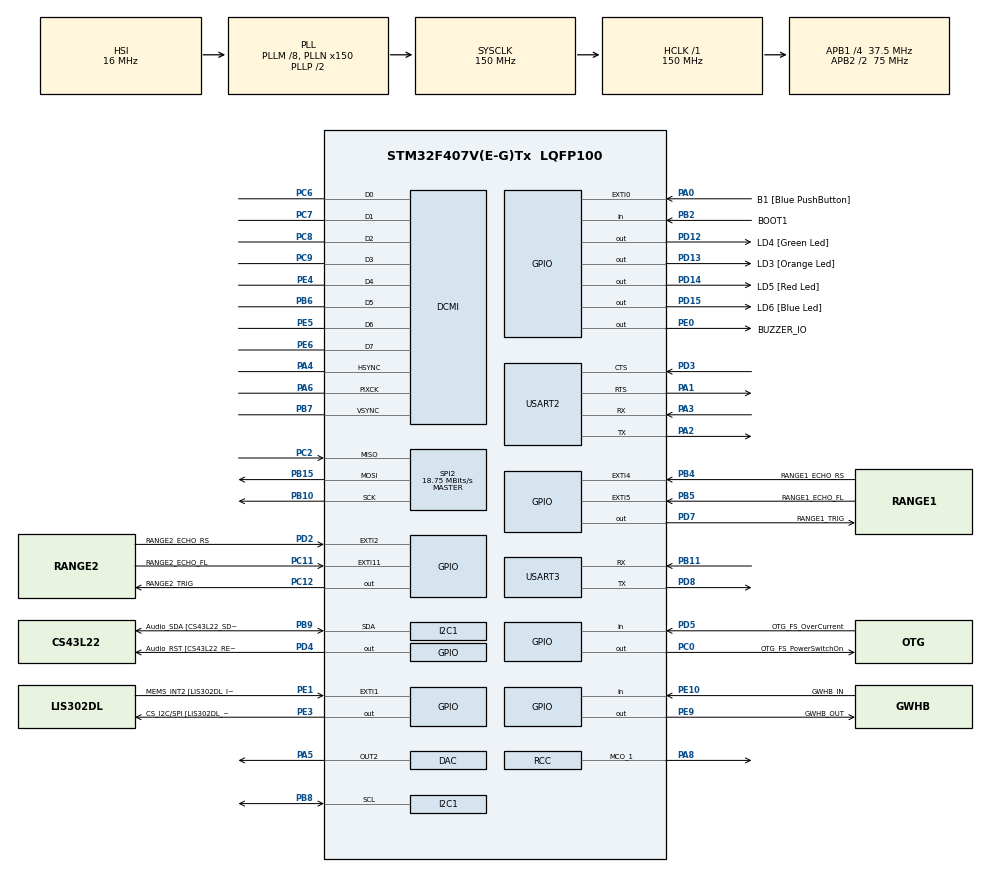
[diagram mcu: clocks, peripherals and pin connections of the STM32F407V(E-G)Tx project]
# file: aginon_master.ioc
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I2C1.OwnAddress=73
Mcu.Family=STM32F4
Mcu.Name=STM32F407V(E-G)Tx
Mcu.Package=LQFP100
NVIC.EXTI15_10_IRQn=true\:1\:0\:true\:false\:true\:true
NVIC.EXTI2_IRQn=true\:1\:0\:true\:false\:true\:true
NVIC.EXTI4_IRQn=true\:1\:0\:true\:false\:true\:true
NVIC.EXTI9_5_IRQn=true\:1\:0\:true\:false\:true\:true
NVIC.PriorityGroup=NVIC_PRIORITYGROUP_2
NVIC.TIM1_UP_TIM10_IRQn=true\:2\:0\:true\:false\:true\:true
NVIC.TIM6_DAC_IRQn=true\:2\:0\:true\:false\:true\:true
NVIC.TIM7_IRQn=true\:2\:0\:true\:false\:true\:true
NVIC.USART3_IRQn=true\:1\:0\:true\:false\:true\:true
PA0-WKUP.GPIO_Label=B1 [Blue PushButton]
PA0-WKUP.Signal=GPXTI0
PA1.Mode=CTS_RTS
PA1.Signal=USART2_RTS
PA10.GPIO_Label=OTG_FS_ID
PA10.GPIO_Mode=GPIO_MODE_AF_PP
PA10.GPIO_PuPd=GPIO_NOPULL
PA10.GPIO_Speed=GPIO_SPEED_FREQ_LOW
PA10.Signal=USB_OTG_FS_ID
PA11.GPIO_Label=OTG_FS_DM
PA11.GPIO_Mode=GPIO_MODE_AF_PP
PA11.GPIO_PuPd=GPIO_NOPULL
PA11.GPIO_Speed=GPIO_SPEED_FREQ_LOW
PA11.Signal=USB_OTG_FS_DM
PA12.GPIO_Label=OTG_FS_DP
PA12.GPIO_Mode=GPIO_MODE_AF_PP
PA12.GPIO_PuPd=GPIO_NOPULL
PA12.GPIO_Speed=GPIO_SPEED_FREQ_LOW
PA12.Signal=USB_OTG_FS_DP
PA13.GPIO_Label=SWDIO
PA13.Signal=SYS_JTMS-SWDIO
PA14.GPIO_Label=SWCLK
PA14.Signal=SYS_JTCK-SWCLK
PA2.Mode=Asynchronous
PA2.Signal=USART2_TX
PA3.Mode=Asynchronous
PA3.Signal=USART2_RX
PA4.Mode=Slave_8_bits_External_Synchro
PA4.Signal=DCMI_HSYNC
PA5.Signal=COMP_DAC2_group
PA6.Mode=Slave_8_bits_External_Synchro
PA6.Signal=DCMI_PIXCK
PA8.Mode=Clock-out-1
PA8.Signal=RCC_MCO_1
PB10.Mode=Full_Duplex_Master
PB10.Signal=SPI2_SCK
PB11.Mode=Asynchronous
PB11.Signal=USART3_RX
PB13.Signal=USART3_CTS
PB14.Signal=USART3_RTS
PB15.Mode=Full_Duplex_Master
PB15.Signal=SPI2_MOSI
PB2.GPIO_Label=BOOT1
PB2.GPIO_Mode=GPIO_MODE_INPUT
PB2.GPIO_PuPd=GPIO_NOPULL
PB2.Signal=GPIO_Input
PB3.GPIO_Label=SWO
PB3.Signal=SYS_JTDO-SWO
PB4.GPIO_Label=RANGE1_ECHO_RS
PB4.Signal=GPXTI4
PB5.GPIO_Label=RANGE1_ECHO_FL
PB5.GPIO_ModeDefaultEXTI=GPIO_MODE_IT_FALLING
PB5.Signal=GPXTI5
PB6.Mode=Slave_8_bits_External_Synchro
PB6.Signal=DCMI_D5
PB7.Mode=Slave_8_bits_External_Synchro
PB7.Signal=DCMI_VSYNC
PB8.Mode=I2C
PB8.Signal=I2C1_SCL
PB9.GPIO_Label=Audio_SDA [CS43L22_SDA]
PB9.GPIO_Mode=GPIO_MODE_AF_OD
PB9.GPIO_PuPd=GPIO_NOPULL
PB9.GPIO_Speed=GPIO_SPEED_FREQ_LOW
PB9.Mode=I2C
PB9.Signal=I2C1_SDA
PC0.GPIO_Label=OTG_FS_PowerSwitchOn
PC0.GPIO_PuPd=GPIO_NOPULL
PC0.GPIO_Speed=GPIO_SPEED_FREQ_LOW
PC0.PinState=GPIO_PIN_SET
PC0.Signal=GPIO_Output
PC11.GPIO_Label=RANGE2_ECHO_FL
PC11.GPIO_ModeDefaultEXTI=GPIO_MODE_IT_FALLING
PC11.Signal=GPXTI11
PC12.GPIO_Label=RANGE2_TRIG
PC12.Signal=GPIO_Output
PC14-OSC32_IN.GPIO_Label=PC14-OSC32_IN
PC14-OSC32_IN.Signal=RCC_OSC32_IN
PC15-OSC32_OUT.GPIO_Label=PC15-OSC32_OUT
PC15-OSC32_OUT.Signal=RCC_OSC32_OUT
PC2.Mode=Full_Duplex_Master
PC2.Signal=SPI2_MISO
PC3.GPIO_Label=PDM_OUT [MP45DT02_DOUT]
PC3.GPIO_Mode=GPIO_MODE_AF_PP
PC3.GPIO_PuPd=GPIO_NOPULL
PC3.GPIO_Speed=GPIO_SPEED_FREQ_LOW
PC3.Signal=I2S2_SD
PC6.Mode=Slave_8_bits_External_Synchro
PC6.Signal=DCMI_D0
PC7.Mode=Slave_8_bits_External_Synchro
PC7.Signal=DCMI_D1
PC8.Mode=Slave_8_bits_External_Synchro
PC8.Signal=DCMI_D2
PC9.Mode=Slave_8_bits_External_Synchro
PC9.Signal=DCMI_D3
PD12.GPIO_Label=LD4 [Green Led]
PD12.GPIO_PuPd=GPIO_NOPULL
PD12.GPIO_Speed=GPIO_SPEED_FREQ_LOW
PD12.Signal=GPIO_Output
PD13.GPIO_Label=LD3 [Orange Led]
PD13.GPIO_PuPd=GPIO_NOPULL
PD13.GPIO_Speed=GPIO_SPEED_FREQ_LOW
PD13.Signal=GPIO_Output
PD14.GPIO_Label=LD5 [Red Led]
PD14.GPIO_PuPd=GPIO_NOPULL
PD14.GPIO_Speed=GPIO_SPEED_FREQ_LOW
PD14.Signal=GPIO_Output
PD15.GPIO_Label=LD6 [Blue Led]
PD15.GPIO_PuPd=GPIO_NOPULL
PD15.GPIO_Speed=GPIO_SPEED_FREQ_LOW
PD15.Signal=GPIO_Output
PD2.GPIO_Label=RANGE2_ECHO_RS
PD2.Signal=GPXTI2
PD3.Mode=CTS_RTS
PD3.Signal=USART2_CTS
PD4.GPIO_Label=Audio_RST [CS43L22_RESET]
PD4.GPIO_PuPd=GPIO_NOPULL
PD4.GPIO_Speed=GPIO_SPEED_FREQ_LOW
PD4.Signal=GPIO_Output
PD5.GPIO_Label=OTG_FS_OverCurrent
PD5.GPIO_Mode=GPIO_MODE_INPUT
PD5.GPIO_PuPd=GPIO_NOPULL
PD5.Signal=GPIO_Input
PD7.GPIO_Label=RANGE1_TRIG
PD7.Signal=GPIO_Output
PD8.Mode=Asynchronous
PD8.Signal=USART3_TX
PE0.GPIO_Label=BUZZER_IO
PE0.Signal=GPIO_Output
PE1.GPIO_Label=MEMS_INT2 [LIS302DL_INT2]
PE1.GPIO_ModeDefaultEXTI=GPIO_MODE_EVT_RISING
PE1.GPIO_PuPd=GPIO_NOPULL
PE1.Signal=GPXTI1
PE10.GPIO_Label=GWHB_IN
PE10.Signal=GPIO_Input
PE3.GPIO_Label=CS_I2C/SPI [LIS302DL_CS_I2C/SPI]
PE3.GPIO_PuPd=GPIO_NOPULL
PE3.GPIO_Speed=GPIO_SPEED_FREQ_LOW
PE3.Signal=GPIO_Output
PE4.Mode=Slave_8_bits_External_Synchro
PE4.Signal=DCMI_D4
PE5.Mode=Slave_8_bits_External_Synchro
PE5.Signal=DCMI_D6
PE6.Mode=Slave_8_bits_External_Synchro
PE6.Signal=DCMI_D7
PE9.GPIO_Label=GWHB_OUT
PE9.Signal=GPIO_Output
PH0-OSC_IN.GPIO_Label=PH0-OSC_IN
PH0-OSC_IN.Signal=RCC_OSC_IN
PH1-OSC_OUT.GPIO_Label=PH1-OSC_OUT
PH1-OSC_OUT.Signal=RCC_OSC_OUT
ProjectManager.HeapSize=0x200
ProjectManager.StackSize=0x400
ProjectManager.TargetToolchain=SW4STM32
RCC.48MHZClocksFreq_Value=42857142.85714286
RCC.AHBFreq_Value=150000000
RCC.APB1CLKDivider=RCC_HCLK_DIV4
RCC.APB1Freq_Value=37500000
RCC.APB1TimFreq_Value=75000000
RCC.APB2CLKDivider=RCC_HCLK_DIV2
RCC.APB2Freq_Value=75000000
RCC.APB2TimFreq_Value=150000000
RCC.CortexFreq_Value=150000000
RCC.HCLKFreq_Value=150000000
RCC.HSE_VALUE=8000000
RCC.HSI_VALUE=16000000
RCC.LSE_VALUE=32768
RCC.PLLM=8
RCC.PLLN=150
RCC.PLLQ=7
RCC.SYSCLKFreq_VALUE=150000000
RCC.SYSCLKSource=RCC_SYSCLKSOURCE_PLLCLK
RCC.VCOOutputFreq_Value=300000000
SH.COMP_DAC2_group.0=DAC_OUT2,DAC_OUT2
SPI2.CalculateBaudRate=18.75 MBits/s
SPI2.Direction=SPI_DIRECTION_2LINES
SPI2.Mode=SPI_MODE_MASTER
SPI2.VirtualType=VM_MASTER
TIM10.Period=50000
TIM10.Prescaler=15000
TIM6.Period=75
TIM6.Prescaler=99
TIM7.Period=4000
TIM7.Prescaler=7500
USART2.VirtualMode=VM_ASYNC
USART3.VirtualMode=VM_ASYNC
VP_TIM10_VS_ClockSourceINT.Mode=Enable_Timer
VP_TIM6_VS_ClockSourceINT.Mode=Enable_Timer
VP_TIM7_VS_ClockSourceINT.Mode=Enable_Timer
board=STM32F4DISCOVERY

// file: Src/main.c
/**
  ******************************************************************************
  * File Name          : main.c
  * Description        : Main program body
  ******************************************************************************
  ** This notice applies to any and all portions of this file
  * that are not between comment pairs USER CODE BEGIN and
  * USER CODE END. Other portions of this file, whether
  * inserted by the user or by software development tools
  * are owned by their respective copyright owners.
  *
  * COPYRIGHT(c) 2017 STMicroelectronics
  *
  * Redistribution and use in source and binary forms, with or without modification,
  * are permitted provided that the following conditions are met:
  *   1. Redistributions of source code must retain the above copyright notice,
  *      this list of conditions and the following disclaimer.
  *   2. Redistributions in binary form must reproduce the above copyright notice,
  *      this list of conditions and the following disclaimer in the documentation
  *      and/or other materials provided with the distribution.
  *   3. Neither the name of STMicroelectronics nor the names of its contributors
  *      may be used to endorse or promote products derived from this software
  *      without specific prior written permission.
  *
  * THIS SOFTWARE IS PROVIDED BY THE COPYRIGHT HOLDERS AND CONTRIBUTORS "AS IS"
  * AND ANY EXPRESS OR IMPLIED WARRANTIES, INCLUDING, BUT NOT LIMITED TO, THE
  * IMPLIED WARRANTIES OF MERCHANTABILITY AND FITNESS FOR A PARTICULAR PURPOSE ARE
  * DISCLAIMED. IN NO EVENT SHALL THE COPYRIGHT HOLDER OR CONTRIBUTORS BE LIABLE
  * FOR ANY DIRECT, INDIRECT, INCIDENTAL, SPECIAL, EXEMPLARY, OR CONSEQUENTIAL
  * DAMAGES (INCLUDING, BUT NOT LIMITED TO, PROCUREMENT OF SUBSTITUTE GOODS OR
  * SERVICES; LOSS OF USE, DATA, OR PROFITS; OR BUSINESS INTERRUPTION) HOWEVER
  * CAUSED AND ON ANY THEORY OF LIABILITY, WHETHER IN CONTRACT, STRICT LIABILITY,
  * OR TORT (INCLUDING NEGLIGENCE OR OTHERWISE) ARISING IN ANY WAY OUT OF THE USE
  * OF THIS SOFTWARE, EVEN IF ADVISED OF THE POSSIBILITY OF SUCH DAMAGE.
  *
  ******************************************************************************
  */

#include "main.h"
#include "stm32f4xx_hal.h"

/* USER CODE BEGIN Includes */
#include <string.h>

#include <agn_buzzer.h>
#include <agn_errno.h>
#include <agn_gateway.h>
#include <agn_logger.h>
#include <agn_micros.h>
#include <agn_packet.h>
#include <agn_range_finder.h>

/* USER CODE END Includes */

DAC_HandleTypeDef hdac;

DCMI_HandleTypeDef hdcmi;

I2C_HandleTypeDef hi2c1;

SPI_HandleTypeDef hspi2;

TIM_HandleTypeDef htim6;
TIM_HandleTypeDef htim7;
TIM_HandleTypeDef htim10;

UART_HandleTypeDef huart2;
UART_HandleTypeDef huart3;

/* USER CODE BEGIN PV */
/* Private variables ----------------------------------------------------------*/

/* USER CODE END PV */

void SystemClock_Config(void);
static void MX_GPIO_Init(void);
static void MX_USART2_UART_Init(void);
static void MX_USART3_UART_Init(void);
static void MX_TIM6_Init(void);
static void MX_TIM7_Init(void);
static void MX_DCMI_Init(void);
static void MX_I2C1_Init(void);
static void MX_SPI2_Init(void);
static void MX_DAC_Init(void);
static void MX_TIM10_Init(void);

/* USER CODE BEGIN PFP */
/* Private function prototypes -----------------------------------------------*/

/* USER CODE END PFP */

/* USER CODE BEGIN 0 */

// run this code every x seconds
void AGN_CHECK_ERRORS() {
	if (getErrno() != 0) {
		char s[20];
		sprintf(s, "Error Code = 0x%02x", getErrno());
		AGN_LOG_ERROR(s);
		resetErrno();
	}
}

int buzzer_state = 0;
GPIO_PinState gwhb_state = 0;
const int gwhb_threshold = 3;
int gwhb_counter = 0;

void HAL_TIM_PeriodElapsedCallback(TIM_HandleTypeDef *htim) {
	//AGN_LOG_DEBUG("TIM_INTERRUPT");
	if (htim->Instance == TIM7) {
		// TIM 7 set to 10 Hz
		HAL_GPIO_TogglePin(GPIOD, LD4_Pin);
		AGN_CHECK_ERRORS();

	} else if (htim->Instance == TIM6){
		// TIM 6 set to 10kHz

		AGN_BUZZER_TICK();
	} else if (htim->Instance == TIM10) {
		// TIM 10 set to 0.2 Hz

		// Toggle Heartbeat OUT
		HAL_GPIO_TogglePin(GWHB_OUT_GPIO_Port, GWHB_OUT_Pin);

		// Check Heartbeat IN
		GPIO_PinState new_gwhb_state = HAL_GPIO_ReadPin(GWHB_IN_GPIO_Port, GWHB_IN_Pin);
		if (gwhb_state != new_gwhb_state) {
			// Heartbeat is normal
			gwhb_counter = 0;
		} else {
			// Heartbeat is malfunctioning
			gwhb_counter++;
			if (gwhb_counter >= gwhb_threshold) {
				setErrno(AGN_ERRNO_GATEWAY_HB_ERROR);
			}
		}

		gwhb_state = new_gwhb_state;

	} else {
		UNUSED(htim);
	}
}

void HAL_GPIO_EXTI_Callback(uint16_t GPIO_Pin)
{
/*
	char str[100];
	sprintf(str, "EXTI_INTERRUPT: 0x%04x", GPIO_Pin);
	AGN_LOG_DEBUG(str);
*/
	if (GPIO_Pin & RANGE1_ECHO_RS_Pin) {
		AGN_RANGE_RISING(1);
	}
	if (GPIO_Pin & RANGE1_ECHO_FL_Pin) {
		AGN_RANGE_FALLING(1);
	}

	if (GPIO_Pin & RANGE2_ECHO_RS_Pin) {
		AGN_RANGE_RISING(2);
	}
	if (GPIO_Pin & RANGE2_ECHO_FL_Pin) {
		AGN_RANGE_FALLING(2);
	}
}

void HAL_UART_RxCpltCallback(UART_HandleTypeDef *huart) {

}

/* USER CODE END 0 */

int main(void)
{

  /* USER CODE BEGIN 1 */
  HAL_GPIO_WritePin(GPIOD, LD4_Pin, 0); // LD4 (Green) is working indicator
  HAL_GPIO_WritePin(GPIOD, LD5_Pin, 0); // LD5 (Red) is error indicator
  HAL_GPIO_WritePin(GPIOD, LD6_Pin, 1); // LD6 (Blue)
  /* USER CODE END 1 */

  /* MCU Configuration----------------------------------------------------------*/

  /* Reset of all peripherals, Initializes the Flash interface and the Systick. */
  HAL_Init();

  /* Configure the system clock */
  SystemClock_Config();

  /* Initialize all configured peripherals */
  MX_GPIO_Init();
  MX_USART2_UART_Init();
  MX_USART3_UART_Init();
  MX_TIM6_Init();
  MX_TIM7_Init();
  MX_DCMI_Init();
  MX_I2C1_Init();
  MX_SPI2_Init();
  MX_DAC_Init();
  MX_TIM10_Init();

  /* USER CODE BEGIN 2 */

  resetErrno();

  // Initialize Logger Huart
  AGN_LOG_INITIALIZE(&huart2);
  AGN_GATEWAY_INITIALIZE(&huart3);
  AGN_BUZZER_INITIALIZE(&hdac);
  AGN_RANGE_INITIALIZE();

  // Start Timer Interrupts
  // TODO Check for errors at this stage
  HAL_TIM_Base_Start_IT(&htim6);
  HAL_TIM_Base_Start_IT(&htim7);
  HAL_TIM_Base_Start_IT(&htim10);

  // Start Digital-Analog Converter
  HAL_DAC_Start(&hdac, DAC_CHANNEL_2);

  // Set Beep Sound
  AGN_BUZZER_SET_WAVEFORM(AGN_WAVEFORM_SQ);
  AGN_BUZZER_SET_FREQ(AGN_TONE_BB4 * 2);

  // Calibrate Rangefinders
  AGN_RANGE_SET_A(10, 1);
  AGN_RANGE_SET_A(10, 2);

  struct AGN_PACKET packet;
  /* USER CODE END 2 */

  /* Infinite loop */
  while (1)
  {

  /* USER CODE BEGIN 3 */
	  //const char * d = "hello\r\n";
	  //HAL_UART_Transmit(&huart2, d, strlen((char * )d), 1000);

	  if (getErrno() == AGN_ERRNO_GATEWAY_RECV_TIMEOUT) {
		  uint8_t dummy_bytes[AGN_PACKET_SIZE];
		  int connection = AGN_GATEWAY_RESYNC(dummy_bytes, AGN_PACKET_SIZE);
		  if (connection == 0) {
			  resetErrno();
		  }
	  }

	  packet.magic = 0xA0A0;

	  char mstr[200];
	  sprintf(mstr, "Before Trigger: %lu", agnProfile());
	  AGN_LOG_TRACE(mstr);
	  uint32_t _depth_1_sum = 0, _depth_2_sum = 0;
	  for (int i = 0; i < 8; i++) {
		  AGN_RANGE_TRIGGER(1);
		  _depth_1_sum += AGN_RANGE_GET(1);
		  AGN_RANGE_TRIGGER(2);
		  _depth_2_sum += AGN_RANGE_GET(2);
		  HAL_Delay(60);
	  }
	  packet.depth1 = _depth_1_sum / 8;
	  packet.depth2 = _depth_2_sum / 8;

	  uint8_t isDetectThief = (packet.depth1 + packet.depth2) < 540000;

	  sprintf(mstr, "After Trigger: %lu", agnProfile());
	  AGN_LOG_TRACE(mstr);

	  packet.status &= 0xF000;
	  packet.status |= (getErrno() & 0xFF);
	  packet.status |= (AGN_RANGE_IS_CONNECTED(2) << 8);
	  packet.status |= (AGN_RANGE_IS_CONNECTED(1) << 9);
	  packet.status |= (1 << 10);
	  packet.detection = 0x00;
	  packet.detection |= (packet.depth1 < 270000) << 3;
	  packet.detection |= (packet.depth2 < 270000) << 2;
	  packet.hex1  = 0x00 | (isDetectThief & 0x01);
	  packet.hex2  = 0x3;

	  sprintf(mstr, "After Get: %lu", agnProfile());
	  AGN_LOG_TRACE(mstr);
	  AGN_GATEWAY_SEND_PACKET(&packet);

	  sprintf(mstr, "After Send: %lu", agnProfile());
	  AGN_LOG_TRACE(mstr);

	  char rstr[200];
	  sprintf(rstr, "SENT Packet: mg=0x%04x, dp1=%lu, dp2=%lu, hx1=0x%01x, hx2=0x%01x, ic1=%d",
			  packet.magic, packet.depth1, packet.depth2, packet.hex1, packet.hex2, AGN_RANGE_IS_CONNECTED(1));
	  AGN_LOG_DEBUG(rstr);

	  AGN_GATEWAY_RECEIVE_PACKET(&packet);
	  sprintf(mstr, "After Receive: %lu", agnProfile());
	  AGN_LOG_TRACE(mstr);

	  char qstr[200];
	  sprintf(qstr, "RECV Packet: mg=0x%04x, dp1=%lu, dp2=%lu, hx1=0x%01x, hx2 = 0x%01x", packet.magic, packet.depth1, packet.depth2, packet.hex1, packet.hex2);
	  AGN_LOG_DEBUG(qstr);

	  // Handle Received Commands

	  if ((packet.mode == 0x01)) {
		  // On command 'ON'
		  AGN_LOG_DEBUG("SET ON");
		  AGN_BUZZER_SET_SWTICH(AGN_BUZZER_ON);
	  } else if ((packet.mode  == 0x00)) {
		  // On command 'OFF'
		  AGN_LOG_DEBUG("SET OFF");
		  AGN_BUZZER_SET_SWTICH(AGN_BUZZER_OFF);
	  } else if ((packet.mode == 0x02)) {
		  AGN_LOG_DEBUG("ENABLE");
		  if (isDetectThief) {
			  AGN_BUZZER_SET_SWTICH(AGN_BUZZER_ON);
 		  } else {
 			  AGN_BUZZER_SET_SWTICH(AGN_BUZZER_OFF);
 		  }
	  } else if ((packet.mode == 0x03)) {
		  AGN_LOG_DEBUG("DISABLE");
		  AGN_BUZZER_SET_SWTICH(AGN_BUZZER_OFF);
	  }

	  // Print Range Information
	  //char str[100];
	  //sprintf(str, "AGN_RANGE = %lu", AGN_RANGE_GET());
	  //AGN_LOG_DEBUG(str);

	  // Delay between measurements needs to be > 60ms
	  HAL_Delay(100);
  }
  /* USER CODE END 3 */

}

/** System Clock Configuration
*/
void SystemClock_Config(void)
{

  RCC_OscInitTypeDef RCC_OscInitStruct;
  RCC_ClkInitTypeDef RCC_ClkInitStruct;

    /**Configure the main internal regulator output voltage
    */
  __HAL_RCC_PWR_CLK_ENABLE();

  __HAL_PWR_VOLTAGESCALING_CONFIG(PWR_REGULATOR_VOLTAGE_SCALE1);

    /**Initializes the CPU, AHB and APB busses clocks
    */
  RCC_OscInitStruct.OscillatorType = RCC_OSCILLATORTYPE_HSI;
  RCC_OscInitStruct.HSIState = RCC_HSI_ON;
  RCC_OscInitStruct.HSICalibrationValue = 16;
  RCC_OscInitStruct.PLL.PLLState = RCC_PLL_ON;
  RCC_OscInitStruct.PLL.PLLSource = RCC_PLLSOURCE_HSI;
  RCC_OscInitStruct.PLL.PLLM = 8;
  RCC_OscInitStruct.PLL.PLLN = 150;
  RCC_OscInitStruct.PLL.PLLP = RCC_PLLP_DIV2;
  RCC_OscInitStruct.PLL.PLLQ = 7;
  if (HAL_RCC_OscConfig(&RCC_OscInitStruct) != HAL_OK)
  {
    _Error_Handler(__FILE__, __LINE__);
  }

    /**Initializes the CPU, AHB and APB busses clocks
    */
  RCC_ClkInitStruct.ClockType = RCC_CLOCKTYPE_HCLK|RCC_CLOCKTYPE_SYSCLK
                              |RCC_CLOCKTYPE_PCLK1|RCC_CLOCKTYPE_PCLK2;
  RCC_ClkInitStruct.SYSCLKSource = RCC_SYSCLKSOURCE_PLLCLK;
  RCC_ClkInitStruct.AHBCLKDivider = RCC_SYSCLK_DIV1;
  RCC_ClkInitStruct.APB1CLKDivider = RCC_HCLK_DIV4;
  RCC_ClkInitStruct.APB2CLKDivider = RCC_HCLK_DIV2;

  if (HAL_RCC_ClockConfig(&RCC_ClkInitStruct, FLASH_LATENCY_4) != HAL_OK)
  {
    _Error_Handler(__FILE__, __LINE__);
  }

  HAL_RCC_MCOConfig(RCC_MCO1, RCC_MCO1SOURCE_HSI, RCC_MCODIV_1);

    /**Configure the Systick interrupt time
    */
  HAL_SYSTICK_Config(HAL_RCC_GetHCLKFreq()/1000);

    /**Configure the Systick
    */
  HAL_SYSTICK_CLKSourceConfig(SYSTICK_CLKSOURCE_HCLK);

  /* SysTick_IRQn interrupt configuration */
  HAL_NVIC_SetPriority(SysTick_IRQn, 0, 0);
}

/* DAC init function */
static void MX_DAC_Init(void)
{

  DAC_ChannelConfTypeDef sConfig;

    /**DAC Initialization
    */
  hdac.Instance = DAC;
  if (HAL_DAC_Init(&hdac) != HAL_OK)
  {
    _Error_Handler(__FILE__, __LINE__);
  }

    /**DAC channel OUT2 config
    */
  sConfig.DAC_Trigger = DAC_TRIGGER_NONE;
  sConfig.DAC_OutputBuffer = DAC_OUTPUTBUFFER_ENABLE;
  if (HAL_DAC_ConfigChannel(&hdac, &sConfig, DAC_CHANNEL_2) != HAL_OK)
  {
    _Error_Handler(__FILE__, __LINE__);
  }

}

/* DCMI init function */
static void MX_DCMI_Init(void)
{

  hdcmi.Instance = DCMI;
  hdcmi.Init.SynchroMode = DCMI_SYNCHRO_HARDWARE;
  hdcmi.Init.PCKPolarity = DCMI_PCKPOLARITY_FALLING;
  hdcmi.Init.VSPolarity = DCMI_VSPOLARITY_LOW;
  hdcmi.Init.HSPolarity = DCMI_HSPOLARITY_LOW;
  hdcmi.Init.CaptureRate = DCMI_CR_ALL_FRAME;
  hdcmi.Init.ExtendedDataMode = DCMI_EXTEND_DATA_8B;
  hdcmi.Init.JPEGMode = DCMI_JPEG_DISABLE;
  if (HAL_DCMI_Init(&hdcmi) != HAL_OK)
  {
    _Error_Handler(__FILE__, __LINE__);
  }

}

/* I2C1 init function */
static void MX_I2C1_Init(void)
{

  hi2c1.Instance = I2C1;
  hi2c1.Init.ClockSpeed = 100000;
  hi2c1.Init.DutyCycle = I2C_DUTYCYCLE_2;
  hi2c1.Init.OwnAddress1 = 146;
  hi2c1.Init.AddressingMode = I2C_ADDRESSINGMODE_7BIT;
  hi2c1.Init.DualAddressMode = I2C_DUALADDRESS_DISABLE;
  hi2c1.Init.OwnAddress2 = 0;
  hi2c1.Init.GeneralCallMode = I2C_GENERALCALL_DISABLE;
  hi2c1.Init.NoStretchMode = I2C_NOSTRETCH_DISABLE;
  if (HAL_I2C_Init(&hi2c1) != HAL_OK)
  {
    _Error_Handler(__FILE__, __LINE__);
  }

}

/* SPI2 init function */
static void MX_SPI2_Init(void)
{

  /* SPI2 parameter configuration*/
  hspi2.Instance = SPI2;
  hspi2.Init.Mode = SPI_MODE_MASTER;
  hspi2.Init.Direction = SPI_DIRECTION_2LINES;
  hspi2.Init.DataSize = SPI_DATASIZE_8BIT;
  hspi2.Init.CLKPolarity = SPI_POLARITY_LOW;
  hspi2.Init.CLKPhase = SPI_PHASE_1EDGE;
  hspi2.Init.NSS = SPI_NSS_SOFT;
  hspi2.Init.BaudRatePrescaler = SPI_BAUDRATEPRESCALER_2;
  hspi2.Init.FirstBit = SPI_FIRSTBIT_MSB;
  hspi2.Init.TIMode = SPI_TIMODE_DISABLE;
  hspi2.Init.CRCCalculation = SPI_CRCCALCULATION_DISABLE;
  hspi2.Init.CRCPolynomial = 10;
  if (HAL_SPI_Init(&hspi2) != HAL_OK)
  {
    _Error_Handler(__FILE__, __LINE__);
  }

}

/* TIM6 init function */
static void MX_TIM6_Init(void)
{

  TIM_MasterConfigTypeDef sMasterConfig;

  htim6.Instance = TIM6;
  htim6.Init.Prescaler = 99;
  htim6.Init.CounterMode = TIM_COUNTERMODE_UP;
  htim6.Init.Period = 75;
  if (HAL_TIM_Base_Init(&htim6) != HAL_OK)
  {
    _Error_Handler(__FILE__, __LINE__);
  }

  sMasterConfig.MasterOutputTrigger = TIM_TRGO_RESET;
  sMasterConfig.MasterSlaveMode = TIM_MASTERSLAVEMODE_DISABLE;
  if (HAL_TIMEx_MasterConfigSynchronization(&htim6, &sMasterConfig) != HAL_OK)
  {
    _Error_Handler(__FILE__, __LINE__);
  }

}

/* TIM7 init function */
static void MX_TIM7_Init(void)
{

  TIM_MasterConfigTypeDef sMasterConfig;

  htim7.Instance = TIM7;
  htim7.Init.Prescaler = 7500;
  htim7.Init.CounterMode = TIM_COUNTERMODE_UP;
  htim7.Init.Period = 4000;
  if (HAL_TIM_Base_Init(&htim7) != HAL_OK)
  {
    _Error_Handler(__FILE__, __LINE__);
  }

  sMasterConfig.MasterOutputTrigger = TIM_TRGO_RESET;
  sMasterConfig.MasterSlaveMode = TIM_MASTERSLAVEMODE_DISABLE;
  if (HAL_TIMEx_MasterConfigSynchronization(&htim7, &sMasterConfig) != HAL_OK)
  {
    _Error_Handler(__FILE__, __LINE__);
  }

}

/* TIM10 init function */
static void MX_TIM10_Init(void)
{

  htim10.Instance = TIM10;
  htim10.Init.Prescaler = 15000;
  htim10.Init.CounterMode = TIM_COUNTERMODE_UP;
  htim10.Init.Period = 50000;
  htim10.Init.ClockDivision = TIM_CLOCKDIVISION_DIV1;
  if (HAL_TIM_Base_Init(&htim10) != HAL_OK)
  {
    _Error_Handler(__FILE__, __LINE__);
  }

}

/* USART2 init function */
static void MX_USART2_UART_Init(void)
{

  huart2.Instance = USART2;
  huart2.Init.BaudRate = 115200;
  huart2.Init.WordLength = UART_WORDLENGTH_8B;
  huart2.Init.StopBits = UART_STOPBITS_1;
  huart2.Init.Parity = UART_PARITY_NONE;
  huart2.Init.Mode = UART_MODE_TX_RX;
  huart2.Init.HwFlowCtl = UART_HWCONTROL_RTS_CTS;
  huart2.Init.OverSampling = UART_OVERSAMPLING_16;
  if (HAL_UART_Init(&huart2) != HAL_OK)
  {
    _Error_Handler(__FILE__, __LINE__);
  }

}

/* USART3 init function */
static void MX_USART3_UART_Init(void)
{

  huart3.Instance = USART3;
  huart3.Init.BaudRate = 115200;
  huart3.Init.WordLength = UART_WORDLENGTH_8B;
  huart3.Init.StopBits = UART_STOPBITS_1;
  huart3.Init.Parity = UART_PARITY_NONE;
  huart3.Init.Mode = UART_MODE_TX_RX;
  huart3.Init.HwFlowCtl = UART_HWCONTROL_NONE;
  huart3.Init.OverSampling = UART_OVERSAMPLING_16;
  if (HAL_UART_Init(&huart3) != HAL_OK)
  {
    _Error_Handler(__FILE__, __LINE__);
  }

}

/** Configure pins as
        * Analog
        * Input
        * Output
        * EVENT_OUT
        * EXTI
     PC3   ------> I2S2_SD
     PA8   ------> RCC_MCO_1
     PA10   ------> USB_OTG_FS_ID
     PA11   ------> USB_OTG_FS_DM
     PA12   ------> USB_OTG_FS_DP
*/
static void MX_GPIO_Init(void)
{

  GPIO_InitTypeDef GPIO_InitStruct;

  /* GPIO Ports Clock Enable */
  __HAL_RCC_GPIOE_CLK_ENABLE();
  __HAL_RCC_GPIOC_CLK_ENABLE();
  __HAL_RCC_GPIOH_CLK_ENABLE();
  __HAL_RCC_GPIOA_CLK_ENABLE();
  __HAL_RCC_GPIOB_CLK_ENABLE();
  __HAL_RCC_GPIOD_CLK_ENABLE();

  /*Configure GPIO pin Output Level */
  HAL_GPIO_WritePin(GPIOE, CS_I2C_SPI_Pin|GWHB_OUT_Pin|BUZZER_IO_Pin, GPIO_PIN_RESET);

  /*Configure GPIO pin Output Level */
  HAL_GPIO_WritePin(OTG_FS_PowerSwitchOn_GPIO_Port, OTG_FS_PowerSwitchOn_Pin, GPIO_PIN_SET);

  /*Configure GPIO pin Output Level */
  HAL_GPIO_WritePin(GPIOD, LD4_Pin|LD3_Pin|LD5_Pin|LD6_Pin
                          |Audio_RST_Pin|RANGE1_TRIG_Pin, GPIO_PIN_RESET);

  /*Configure GPIO pin Output Level */
  HAL_GPIO_WritePin(RANGE2_TRIG_GPIO_Port, RANGE2_TRIG_Pin, GPIO_PIN_RESET);

  /*Configure GPIO pins : CS_I2C_SPI_Pin GWHB_OUT_Pin BUZZER_IO_Pin */
  GPIO_InitStruct.Pin = CS_I2C_SPI_Pin|GWHB_OUT_Pin|BUZZER_IO_Pin;
  GPIO_InitStruct.Mode = GPIO_MODE_OUTPUT_PP;
  GPIO_InitStruct.Pull = GPIO_NOPULL;
  GPIO_InitStruct.Speed = GPIO_SPEED_FREQ_LOW;
  HAL_GPIO_Init(GPIOE, &GPIO_InitStruct);

  /*Configure GPIO pins : OTG_FS_PowerSwitchOn_Pin RANGE2_TRIG_Pin */
  GPIO_InitStruct.Pin = OTG_FS_PowerSwitchOn_Pin|RANGE2_TRIG_Pin;
  GPIO_InitStruct.Mode = GPIO_MODE_OUTPUT_PP;
  GPIO_InitStruct.Pull = GPIO_NOPULL;
  GPIO_InitStruct.Speed = GPIO_SPEED_FREQ_LOW;
  HAL_GPIO_Init(GPIOC, &GPIO_InitStruct);

  /*Configure GPIO pin : PDM_OUT_Pin */
  GPIO_InitStruct.Pin = PDM_OUT_Pin;
  GPIO_InitStruct.Mode = GPIO_MODE_AF_PP;
  GPIO_InitStruct.Pull = GPIO_NOPULL;
  GPIO_InitStruct.Speed = GPIO_SPEED_FREQ_LOW;
  GPIO_InitStruct.Alternate = GPIO_AF5_SPI2;
  HAL_GPIO_Init(PDM_OUT_GPIO_Port, &GPIO_InitStruct);

  /*Configure GPIO pin : B1_Pin */
  GPIO_InitStruct.Pin = B1_Pin;
  GPIO_InitStruct.Mode = GPIO_MODE_IT_RISING;
  GPIO_InitStruct.Pull = GPIO_NOPULL;
  HAL_GPIO_Init(B1_GPIO_Port, &GPIO_InitStruct);

  /*Configure GPIO pin : BOOT1_Pin */
  GPIO_InitStruct.Pin = BOOT1_Pin;
  GPIO_InitStruct.Mode = GPIO_MODE_INPUT;
  GPIO_InitStruct.Pull = GPIO_NOPULL;
  HAL_GPIO_Init(BOOT1_GPIO_Port, &GPIO_InitStruct);

  /*Configure GPIO pin : GWHB_IN_Pin */
  GPIO_InitStruct.Pin = GWHB_IN_Pin;
  GPIO_InitStruct.Mode = GPIO_MODE_INPUT;
  GPIO_InitStruct.Pull = GPIO_NOPULL;
  HAL_GPIO_Init(GWHB_IN_GPIO_Port, &GPIO_InitStruct);

  /*Configure GPIO pins : LD4_Pin LD3_Pin LD5_Pin LD6_Pin
                           Audio_RST_Pin RANGE1_TRIG_Pin */
  GPIO_InitStruct.Pin = LD4_Pin|LD3_Pin|LD5_Pin|LD6_Pin
                          |Audio_RST_Pin|RANGE1_TRIG_Pin;
  GPIO_InitStruct.Mode = GPIO_MODE_OUTPUT_PP;
  GPIO_InitStruct.Pull = GPIO_NOPULL;
  GPIO_InitStruct.Speed = GPIO_SPEED_FREQ_LOW;
  HAL_GPIO_Init(GPIOD, &GPIO_InitStruct);

  /*Configure GPIO pin : PA8 */
  GPIO_InitStruct.Pin = GPIO_PIN_8;
  GPIO_InitStruct.Mode = GPIO_MODE_AF_PP;
  GPIO_InitStruct.Pull = GPIO_NOPULL;
  GPIO_InitStruct.Speed = GPIO_SPEED_FREQ_LOW;
  GPIO_InitStruct.Alternate = GPIO_AF0_MCO;
  HAL_GPIO_Init(GPIOA, &GPIO_InitStruct);

  /*Configure GPIO pins : OTG_FS_ID_Pin OTG_FS_DM_Pin OTG_FS_DP_Pin */
  GPIO_InitStruct.Pin = OTG_FS_ID_Pin|OTG_FS_DM_Pin|OTG_FS_DP_Pin;
  GPIO_InitStruct.Mode = GPIO_MODE_AF_PP;
  GPIO_InitStruct.Pull = GPIO_NOPULL;
  GPIO_InitStruct.Speed = GPIO_SPEED_FREQ_LOW;
  GPIO_InitStruct.Alternate = GPIO_AF10_OTG_FS;
  HAL_GPIO_Init(GPIOA, &GPIO_InitStruct);

  /*Configure GPIO pin : RANGE2_ECHO_FL_Pin */
  GPIO_InitStruct.Pin = RANGE2_ECHO_FL_Pin;
  GPIO_InitStruct.Mode = GPIO_MODE_IT_FALLING;
  GPIO_InitStruct.Pull = GPIO_NOPULL;
  HAL_GPIO_Init(RANGE2_ECHO_FL_GPIO_Port, &GPIO_InitStruct);

  /*Configure GPIO pin : RANGE2_ECHO_RS_Pin */
  GPIO_InitStruct.Pin = RANGE2_ECHO_RS_Pin;
  GPIO_InitStruct.Mode = GPIO_MODE_IT_RISING;
  GPIO_InitStruct.Pull = GPIO_NOPULL;
  HAL_GPIO_Init(RANGE2_ECHO_RS_GPIO_Port, &GPIO_InitStruct);

  /*Configure GPIO pin : OTG_FS_OverCurrent_Pin */
  GPIO_InitStruct.Pin = OTG_FS_OverCurrent_Pin;
  GPIO_InitStruct.Mode = GPIO_MODE_INPUT;
  GPIO_InitStruct.Pull = GPIO_NOPULL;
  HAL_GPIO_Init(OTG_FS_OverCurrent_GPIO_Port, &GPIO_InitStruct);

  /*Configure GPIO pin : RANGE1_ECHO_RS_Pin */
  GPIO_InitStruct.Pin = RANGE1_ECHO_RS_Pin;
  GPIO_InitStruct.Mode = GPIO_MODE_IT_RISING;
  GPIO_InitStruct.Pull = GPIO_NOPULL;
  HAL_GPIO_Init(RANGE1_ECHO_RS_GPIO_Port, &GPIO_InitStruct);

  /*Configure GPIO pin : RANGE1_ECHO_FL_Pin */
  GPIO_InitStruct.Pin = RANGE1_ECHO_FL_Pin;
  GPIO_InitStruct.Mode = GPIO_MODE_IT_FALLING;
  GPIO_InitStruct.Pull = GPIO_NOPULL;
  HAL_GPIO_Init(RANGE1_ECHO_FL_GPIO_Port, &GPIO_InitStruct);

  /*Configure GPIO pin : MEMS_INT2_Pin */
  GPIO_InitStruct.Pin = MEMS_INT2_Pin;
  GPIO_InitStruct.Mode = GPIO_MODE_EVT_RISING;
  GPIO_InitStruct.Pull = GPIO_NOPULL;
  HAL_GPIO_Init(MEMS_INT2_GPIO_Port, &GPIO_InitStruct);

  /* EXTI interrupt init*/
  HAL_NVIC_SetPriority(EXTI2_IRQn, 1, 0);
  HAL_NVIC_EnableIRQ(EXTI2_IRQn);

  HAL_NVIC_SetPriority(EXTI4_IRQn, 1, 0);
  HAL_NVIC_EnableIRQ(EXTI4_IRQn);

  HAL_NVIC_SetPriority(EXTI9_5_IRQn, 1, 0);
  HAL_NVIC_EnableIRQ(EXTI9_5_IRQn);

  HAL_NVIC_SetPriority(EXTI15_10_IRQn, 1, 0);
  HAL_NVIC_EnableIRQ(EXTI15_10_IRQn);

}

void _Error_Handler(char * file, int line)
{
  /* USER CODE BEGIN Error_Handler_Debug */
  /* User can add his own implementation to report the HAL error return state */
  if (getErrno() == 0) {
	  setErrno(AGN_ERRNO_UNKNOWN);
  }
  HAL_GPIO_WritePin(GPIOD, LD6_Pin, 1);
  char message[1000];
  sprintf(message, "Unknown Error occurred at (%s:%d). ERRNO = %d.", file, line, getErrno());
  AGN_LOG_FATAL(message);
  while(1)
  {

  }
  /* USER CODE END Error_Handler_Debug */
}

/************************ (C) COPYRIGHT STMicroelectronics *****END OF FILE****/
